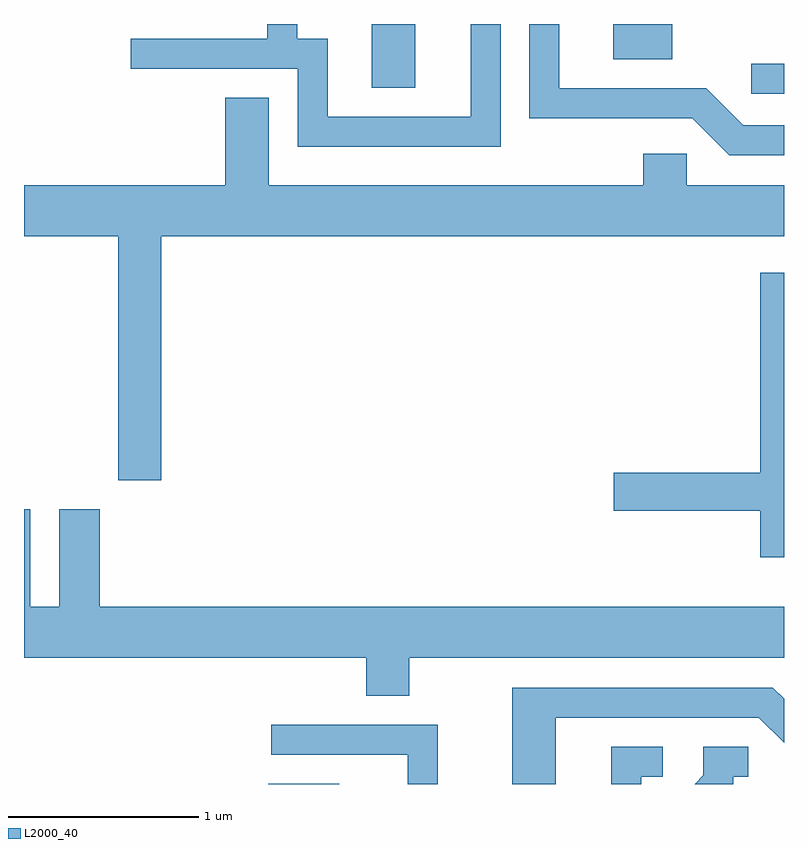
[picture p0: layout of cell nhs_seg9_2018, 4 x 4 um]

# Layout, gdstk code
import gdstk
lib = gdstk.Library(unit=1e-6, precision=1e-09)
def R(c, l, rs):  # rectangles x0, y0, x1, y1
    for r in rs: c.add(gdstk.rectangle(r[:2], r[2:], *l))
def P(c, l, *ps):  # polygons
    for p in ps: c.add(gdstk.Polygon(p, *l))
L2000_40 = (2000, 40)

nhs_seg9_2018 = lib.new_cell('nhs_seg9_2018')
R(nhs_seg9_2018, L2000_40, [(244.896,2044.432,245.269,2044.434), (247.438,2048.066,247.611,2048.224), (245.441,2048.096,245.669,2048.432), (246.711,2048.246,247.024,2048.432)])
P(nhs_seg9_2018, L2000_40, [(246.119,2048.432),(245.961,2048.432),(245.961,2047.944),(245.209,2047.944),(245.209,2048.354),(245.049,2048.354),(245.049,2048.432),(244.891,2048.432),(244.891,2048.354),(244.173,2048.354),(244.173,2048.196),(245.051,2048.196),(245.051,2047.786),(246.119,2047.786)],
  [(247.611,2047.899),(247.397,2047.899),(247.202,2048.094),(246.429,2048.094),(246.429,2048.432),(246.271,2048.432),(246.271,2047.936),(247.129,2047.936),(247.324,2047.741),(247.611,2047.741)],
  [(244.334,2047.316),(247.611,2047.316),(247.611,2047.584),(247.099,2047.584),(247.099,2047.749),(246.871,2047.749),(246.871,2047.584),(244.899,2047.584),(244.899,2048.044),(244.671,2048.044),(244.671,2047.584),(243.611,2047.584),(243.611,2047.316),(244.106,2047.316),(244.106,2046.031),(244.334,2046.031)],
  [(247.611,2047.124),(247.486,2047.124),(247.486,2046.069),(246.716,2046.069),(246.716,2045.871),(247.486,2045.871),(247.486,2045.626),(247.611,2045.626)],
  [(245.639,2045.096),(247.611,2045.096),(247.611,2045.364),(244.009,2045.364),(244.009,2045.879),(243.796,2045.879),(243.796,2045.364),(243.644,2045.364),(243.644,2045.879),(243.611,2045.879),(243.611,2045.096),(245.411,2045.096),(245.411,2044.896),(245.639,2044.896)],
  [(246.409,2044.781),(247.479,2044.781),(247.611,2044.649),(247.611,2044.88),(247.552,2044.939),(246.181,2044.939),(246.181,2044.432),(246.409,2044.432)],
  [(245.789,2044.744),(244.913,2044.744),(244.913,2044.586),(245.631,2044.586),(245.631,2044.432),(245.789,2044.432)],
  [(246.859,2044.471),(246.973,2044.471),(246.973,2044.629),(246.701,2044.629),(246.701,2044.432),(246.859,2044.432)],
  [(247.344,2044.471),(247.423,2044.471),(247.423,2044.629),(247.186,2044.629),(247.186,2044.477),(247.141,2044.432),(247.344,2044.432)])

lib.write_gds('nhs_seg9_2018.gds')
